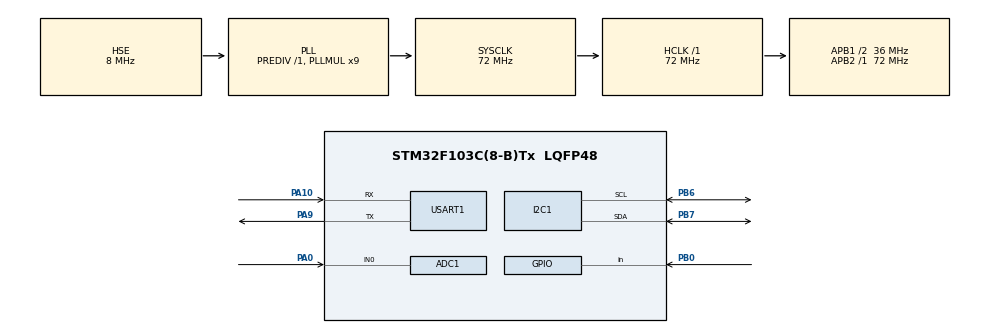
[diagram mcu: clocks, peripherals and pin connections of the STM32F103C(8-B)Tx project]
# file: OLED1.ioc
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ADC1.Channel-0\#ChannelRegularConversion=ADC_CHANNEL_0
ADC1.NbrOfConversionFlag=1
ADC1.Rank-0\#ChannelRegularConversion=1
ADC1.SamplingTime-0\#ChannelRegularConversion=ADC_SAMPLETIME_55CYCLES_5
ADC1.master=1
I2C1.I2C_Mode=I2C_Fast
Mcu.Family=STM32F1
Mcu.Name=STM32F103C(8-B)Tx
Mcu.Package=LQFP48
NVIC.PriorityGroup=NVIC_PRIORITYGROUP_4
NVIC.USART1_IRQn=true\:0\:0\:false\:false\:true\:true\:true\:true
PA0-WKUP.Signal=ADCx_IN0
PA10.Mode=Asynchronous
PA10.Signal=USART1_RX
PA13.Mode=Serial_Wire
PA13.Signal=SYS_JTMS-SWDIO
PA14.Mode=Serial_Wire
PA14.Signal=SYS_JTCK-SWCLK
PA9.Mode=Asynchronous
PA9.Signal=USART1_TX
PB0.GPIO_PuPd=GPIO_PULLUP
PB0.Signal=GPIO_Input
PB6.Mode=I2C
PB6.Signal=I2C1_SCL
PB7.Mode=I2C
PB7.Signal=I2C1_SDA
PC14-OSC32_IN.Mode=LSE-External-Oscillator
PC14-OSC32_IN.Signal=RCC_OSC32_IN
PC15-OSC32_OUT.Mode=LSE-External-Oscillator
PC15-OSC32_OUT.Signal=RCC_OSC32_OUT
PD0-OSC_IN.Mode=HSE-External-Oscillator
PD0-OSC_IN.Signal=RCC_OSC_IN
PD1-OSC_OUT.Mode=HSE-External-Oscillator
PD1-OSC_OUT.Signal=RCC_OSC_OUT
ProjectManager.HeapSize=0x200
ProjectManager.StackSize=0x400
ProjectManager.TargetToolchain=MDK-ARM V5.32
RCC.ADCPresc=RCC_ADCPCLK2_DIV6
RCC.AHBFreq_Value=72000000
RCC.APB1CLKDivider=RCC_HCLK_DIV2
RCC.APB1Freq_Value=36000000
RCC.APB1TimFreq_Value=72000000
RCC.APB2Freq_Value=72000000
RCC.APB2TimFreq_Value=72000000
RCC.HCLKFreq_Value=72000000
RCC.PLLMUL=RCC_PLL_MUL9
RCC.PLLSourceVirtual=RCC_PLLSOURCE_HSE
RCC.SYSCLKFreq_VALUE=72000000
RCC.SYSCLKSource=RCC_SYSCLKSOURCE_PLLCLK
RCC.USBFreq_Value=72000000
SH.ADCx_IN0.0=ADC1_IN0,IN0
USART1.VirtualMode=VM_ASYNC
board=custom

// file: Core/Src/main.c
/* USER CODE BEGIN Header */
/**
  ******************************************************************************
  * @file           : main.c
  * @brief          : Main program body
  ******************************************************************************
  * @attention
  *
  * Copyright (c) 2026 STMicroelectronics.
  * All rights reserved.
  *
  * This software is licensed under terms that can be found in the LICENSE file
  * in the root directory of this software component.
  * If no LICENSE file comes with this software, it is provided AS-IS.
  *
  ******************************************************************************
  */
/* USER CODE END Header */
#include "main.h"
#include "adc.h"
#include "i2c.h"
#include "usart.h"
#include "gpio.h"

/* USER CODE BEGIN Includes */

#include "bsp_uart.h"
#include "oled.h"
#include "app_adc.h"
#include "app_cmd.h"
#include "bsp_key.h"
#include "app_power.h"

/* USER CODE END Includes */

/* USER CODE BEGIN PV */

uint16_t g_adc_raw = 0;     /* 最近一次原始采样值 0~4095 */
uint16_t g_adc_avg = 0;     /* 8 点滑动平均后的值 */
uint32_t g_last_ms = 0;     /* 上次刷新的时刻（HAL_GetTick 的毫秒计数） */
uint8_t  g_last_pct = 255;  /* 上次画进度条时的百分比，用来避免无意义的重复传输 */
uint8_t  g_last_page = 0;   /* 上次绘制的页号，页号变了要清屏重画 */

/* USER CODE END PV */

void SystemClock_Config(void);

/* USER CODE BEGIN 0 */

/*
 * 显示 1~3 位的百分数，右对齐。
 * 为什么要先写三个空格：百分比会从 100 掉到 45，不擦掉高位的话屏上会留个 "1"。
 */
static void ShowPercent(uint8_t x, uint8_t page, uint8_t pct)
{
  OLED_ShowString(x, page, "   ");
  if (pct >= 100)
  {
    OLED_ShowNum(x, page, pct, 3);
  }
  else if (pct >= 10)
  {
    OLED_ShowNum(x + 8, page, pct, 2);
  }
  else
  {
    OLED_ShowNum(x + 16, page, pct, 1);
  }
}

/*
 * 画当前页的固定部分（标题和文字标签）。
 * 页 1 是给人看的主界面，页 2 是给调试看的数据界面。
 */
static void DrawFrame(void)
{
  if (g_page == 1)
  {
    OLED_ShowString(0, 0, "ENV MONITOR");
    OLED_ShowString(0, 2, "LIGHT");
    OLED_ShowString(72, 2, "%");
    OLED_ShowString(32, 4, "V");
    OLED_ShowBar(6, 0);
  }
  else
  {
    OLED_ShowString(0, 0, "ENV DATA");
    OLED_ShowString(0, 2, "RAW");
    OLED_ShowString(0, 4, "AVG");
    OLED_ShowString(0, 6, "V");
  }
}

/* USER CODE END 0 */

int main(void)
{

  /* MCU Configuration--------------------------------------------------------*/

  /* Reset of all peripherals, Initializes the Flash interface and the Systick. */
  HAL_Init();

  /* Configure the system clock */
  SystemClock_Config();

  /* Initialize all configured peripherals */
  MX_GPIO_Init();
  MX_I2C1_Init();
  MX_USART1_UART_Init();
  MX_ADC1_Init();
  /* USER CODE BEGIN 2 */

  printf("\r\nboot\r\n");

  OLED_Init();                /* 初始化屏幕 */
  App_AdcInit();              /* ADC 校准一次 */
  BspUart_Init();             /* 打开串口中断接收 */
  Cmd_Init();                 /* 页号回到第 1 页 */
  Power_Init();               /* 低功耗计时从这里开始 */

  DrawFrame();                /* 画第 1 页的固定框架 */
  g_last_page = g_page;

  /* USER CODE END 2 */

  /* Infinite loop */
  while (1)
  {

    /* USER CODE BEGIN 3 */

    /* 每轮都来取一次串口字节，不阻塞，有命令就执行 */
    Cmd_Process();

    /*
     * 空闲满 1 分钟就关屏进 STOP，靠 PB0 的下降沿唤醒。
     * 唤醒回来屏是空的，把 g_last_page 置 0 让下面的重画分支生效。
     */
    if (Power_Task())
    {
      g_last_page = 0;
      g_last_pct  = 255;
      g_last_ms   = HAL_GetTick();
      continue;
    }

    /* 按键按下就翻页，和串口 PAGE 命令走同一个入口 */
    if (BspKey_Scan())
    {
      Cmd_NextPage();
      Power_TouchActivity();
    }

    /* 页号被命令改了，清屏重画固定框架 */
    if (g_page != g_last_page)
    {
      g_last_page = g_page;
      g_last_pct  = 255;          /* 强制重画进度条 */
      OLED_Clear();
      DrawFrame();
    }

    /* 每 200ms 采一次、刷一次。用 HAL_GetTick 时间片而不是 HAL_Delay，
       这样主循环一直是"活的"，串口命令随时能响应。 */
    if ((uint32_t)(HAL_GetTick() - g_last_ms) >= 200)
    {
      uint16_t mv;
      uint8_t pct;

      g_last_ms += 200;

      g_adc_raw = App_AdcReadRaw();                 /* 原始值 */
      g_adc_avg = App_AdcSmooth(g_adc_raw);         /* 滤波后的值 */
      mv  = (uint16_t)((uint32_t)g_adc_avg * APP_ADC_VREF / APP_ADC_FULL);
      pct = App_AdcPercent(g_adc_avg);               /* 实测区间换算，越亮百分比越大 */

      if (g_page == 1)
      {
        const char *level;

        if (pct < 15)
        {
          level = "DARK  ";
        }
        else if (pct < 60)
        {
          level = "NORMAL";
        }
        else
        {
          level = "BRIGHT";
        }

        ShowPercent(48, 2, pct);                     /* LIGHT  xx% */

        OLED_ShowNum(0, 4, mv / 1000, 1);            /* 电压整数部分 */
        OLED_ShowChar(8, 4, '.');
        OLED_ShowNum(16, 4, (mv % 1000) / 10, 2);    /* 两位小数 */
        OLED_ShowString(64, 4, level);               /* 等级文字 */

        /* 百分比没变就不重画进度条，省掉一次 128 字节的 I2C 传输 */
        if (pct != g_last_pct)
        {
          g_last_pct = pct;
          OLED_ShowBar(6, (uint8_t)((uint32_t)pct * 128 / 100));
        }
      }
      else
      {
        OLED_ShowNum(32, 2, g_adc_raw, 4);           /* RAW 0~4095 */
        OLED_ShowNum(32, 4, g_adc_avg, 4);           /* AVG 0~4095 */
        OLED_ShowNum(16, 6, mv / 1000, 1);
        OLED_ShowChar(24, 6, '.');
        OLED_ShowNum(32, 6, (mv % 1000) / 10, 2);
      }
    }

    /* USER CODE BEGIN 3 */
  }
  /* USER CODE END 3 */
}

void SystemClock_Config(void)
{
  RCC_OscInitTypeDef RCC_OscInitStruct = {0};
  RCC_ClkInitTypeDef RCC_ClkInitStruct = {0};
  RCC_PeriphCLKInitTypeDef PeriphClkInit = {0};

  /** Initializes the RCC Oscillators according to the specified parameters
  * in the RCC_OscInitTypeDef structure.
  */
  RCC_OscInitStruct.OscillatorType = RCC_OSCILLATORTYPE_HSE;
  RCC_OscInitStruct.HSEState = RCC_HSE_ON;
  RCC_OscInitStruct.HSEPredivValue = RCC_HSE_PREDIV_DIV1;
  RCC_OscInitStruct.HSIState = RCC_HSI_ON;
  RCC_OscInitStruct.PLL.PLLState = RCC_PLL_ON;
  RCC_OscInitStruct.PLL.PLLSource = RCC_PLLSOURCE_HSE;
  RCC_OscInitStruct.PLL.PLLMUL = RCC_PLL_MUL9;
  if (HAL_RCC_OscConfig(&RCC_OscInitStruct) != HAL_OK)
  {
    Error_Handler();
  }

  /** Initializes the CPU, AHB and APB buses clocks
  */
  RCC_ClkInitStruct.ClockType = RCC_CLOCKTYPE_HCLK|RCC_CLOCKTYPE_SYSCLK
                              |RCC_CLOCKTYPE_PCLK1|RCC_CLOCKTYPE_PCLK2;
  RCC_ClkInitStruct.SYSCLKSource = RCC_SYSCLKSOURCE_PLLCLK;
  RCC_ClkInitStruct.AHBCLKDivider = RCC_SYSCLK_DIV1;
  RCC_ClkInitStruct.APB1CLKDivider = RCC_HCLK_DIV2;
  RCC_ClkInitStruct.APB2CLKDivider = RCC_HCLK_DIV1;

  if (HAL_RCC_ClockConfig(&RCC_ClkInitStruct, FLASH_LATENCY_2) != HAL_OK)
  {
    Error_Handler();
  }
  PeriphClkInit.PeriphClockSelection = RCC_PERIPHCLK_ADC;
  PeriphClkInit.AdcClockSelection = RCC_ADCPCLK2_DIV6;
  if (HAL_RCCEx_PeriphCLKConfig(&PeriphClkInit) != HAL_OK)
  {
    Error_Handler();
  }
}

void Error_Handler(void)
{
  __disable_irq();
  while (1)
  {
  }
}
